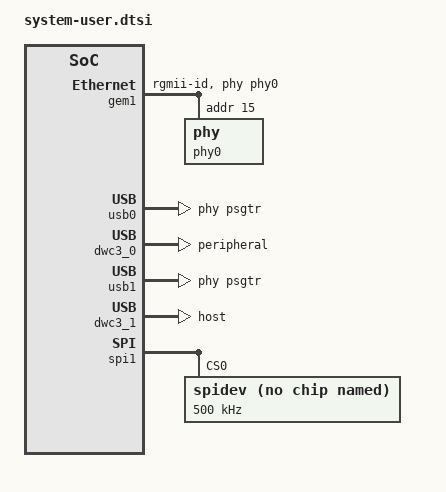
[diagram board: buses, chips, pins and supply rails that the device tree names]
/include/ "system-conf.dtsi"
#include <dt-bindings/phy/phy.h>

/ {
	chosen {
		bootargs = " earlycon console=ttyPS0,115200 console=tty0 clk_ignore_unused root=/dev/mmcblk0p2 rw";
		stdout-path = "serial0:115200n8";
	};

        dp_clk:psgtr_dp_clock {
                compatible = "fixed-clock";
                #clock-cells = <0x00>;
                clock-frequency = <27000000>;
        };

	usb_clk:psgtr_usb_clock {
                compatible = "fixed-clock";
		#clock-cells = <0x00>;
                clock-frequency = <26000000>;
	};
};

&gem1 {
	status = "okay";
	phy-handle = <&phy0>;
	phy-mode = "rgmii-id";
	/* pinctrl-names = "default";
	pinctrl-0 = <&pinctrl_gem1_default>; */
	phy0: phy@f {
		reg = <0xf>;
		ti,rx-internal-delay = <0x8>;
		ti,tx-internal-delay = <0xa>;
		ti,fifo-depth = <0x1>;
		ti,dp83867-rxctrl-strap-quirk;
	};
};


&sdhci0 {
	no-1-8-v;
};

&psgtr {
      /* dp 0-1, usb0, usb1 */
      clocks = <&usb_clk>, <&dp_clk>;
      clock-names = "ref0", "ref1";
};

&zynqmp_dpsub {
	phys = <&psgtr 1 PHY_TYPE_DP 0 1>, <&psgtr 0 PHY_TYPE_DP 1 1>;
};

&usb0 {
	status = "okay";
	phys = <&psgtr 2 PHY_TYPE_USB3 0 1>;
};

&dwc3_0 {
	status = "okay";
	dr_mode = "peripheral";
	snps,usb3_lpm_capable;
	phy-names = "usb3-phy";
	maximum-speed = "super-speed";
};

&usb1 {
	status = "okay";
	phys = <&psgtr 3 PHY_TYPE_USB3 1 1>;
};

&dwc3_1 {
	status = "okay";
	dr_mode = "host";
	snps,usb3_lpm_capable;
	phy-names = "usb3-phy";
	maximum-speed = "super-speed";
};

&spi1 {
	spidev@0 {
		compatible = "rohm,dh2228fv";
		reg = <0>;
		spi-max-frequency = <500000>;
	};
};

&axi_gpio_0 {
	gpio-line-names = "SW0", "SW1", "SW2", "SW3",
			  "LED0", "LED1", "LED2", "LED3";
};

&axi_gpio_1 {
	gpio-line-names = "PMOD0_0", "PMOD0_1", "PMOD0_2", "PMOD0_3",
			  "PMOD0_4", "PMOD0_5", "PMOD0_6", "PMOD0_7",
			  "PMOD1_0", "PMOD1_1", "PMOD1_2", "PMOD1_3",
			  "PMOD1_4", "PMOD1_5", "PMOD1_6", "PMOD1_7";
};

&axi_gpio_2 {
	gpio-line-names = "PMOD01_0", "PMOD01_1", "PMOD01_2", "PMOD01_3",
			  "PMOD01_4", "PMOD01_5";
};

&axi_gpio_3 {
	gpio-line-names = "RGB0_R", "RGB0_G", "RGB0_B",
			  "RGB1_R", "RGB1_G", "RGB1_B";
};

&axi_gpio_4 {
	gpio-line-names = "PB0", "PB1", "PB2", "PB3", "BTN9";
};
